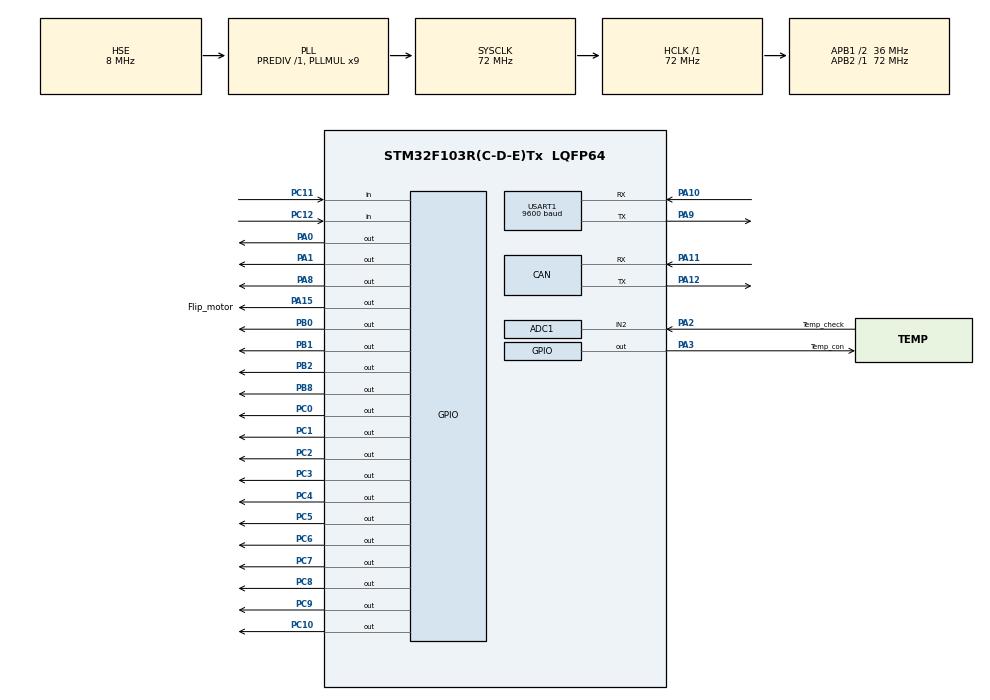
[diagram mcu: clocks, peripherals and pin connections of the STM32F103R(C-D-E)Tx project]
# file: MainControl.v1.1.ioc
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ADC1.Channel-0\#ChannelRegularConversion=ADC_CHANNEL_2
ADC1.ContinuousConvMode=ENABLE
ADC1.DataAlign=ADC_DATAALIGN_RIGHT
ADC1.DiscontinuousConvMode=DISABLE
ADC1.EnableAnalogWatchDog=false
ADC1.EnableRegularConversion=ENABLE
ADC1.ExternalTrigConv=ADC_SOFTWARE_START
ADC1.InjNumberOfConversion=0
ADC1.NbrOfConversion=1
ADC1.NbrOfConversionFlag=1
ADC1.Rank-0\#ChannelRegularConversion=1
ADC1.SamplingTime-0\#ChannelRegularConversion=ADC_SAMPLETIME_55CYCLES_5
ADC1.ScanConvMode=ADC_SCAN_DISABLE
ADC1.master=1
CAN.CalculateTimeBit=1333
CAN.CalculateTimeQuantum=444.44444444444446
Dma.ADC1.0.Direction=DMA_PERIPH_TO_MEMORY
Dma.ADC1.0.Instance=DMA1_Channel1
Dma.ADC1.0.MemDataAlignment=DMA_MDATAALIGN_WORD
Dma.ADC1.0.MemInc=DMA_MINC_ENABLE
Dma.ADC1.0.Mode=DMA_NORMAL
Dma.ADC1.0.PeriphDataAlignment=DMA_PDATAALIGN_WORD
Dma.ADC1.0.PeriphInc=DMA_PINC_DISABLE
Dma.ADC1.0.Priority=DMA_PRIORITY_HIGH
Dma.Request0=ADC1
FREERTOS.Tasks01=defaultTask,0,128,StartDefaultTask,Default,NULL,Dynamic,NULL,NULL;myTask02,-3,128,StartTask02,Default,NULL,Dynamic,NULL,NULL;myTask03,-3,128,StartTask03,Default,NULL,Dynamic,NULL,NULL
Mcu.Family=STM32F1
Mcu.Name=STM32F103R(C-D-E)Tx
Mcu.Package=LQFP64
NVIC.DMA1_Channel1_IRQn=true\:5\:0\:false\:false\:true\:true
NVIC.PriorityGroup=NVIC_PRIORITYGROUP_4
NVIC.TIM4_IRQn=true\:0\:0\:false\:false\:true\:false
NVIC.TimeBase=TIM4_IRQn
NVIC.TimeBaseIP=TIM4
NVIC.USB_LP_CAN1_RX0_IRQn=true\:0\:0\:false\:false\:true\:false
PA0-WKUP.GPIO_Speed=GPIO_SPEED_FREQ_HIGH
PA0-WKUP.Signal=GPIO_Output
PA1.GPIO_Speed=GPIO_SPEED_FREQ_HIGH
PA1.Signal=GPIO_Output
PA10.Mode=Asynchronous
PA10.Signal=USART1_RX
PA11.Mode=Master
PA11.Signal=CAN_RX
PA12.Mode=Master
PA12.Signal=CAN_TX
PA13.Mode=Serial_Wire
PA13.Signal=SYS_JTMS-SWDIO
PA14.Mode=Serial_Wire
PA14.Signal=SYS_JTCK-SWCLK
PA15.GPIO_Label=Flip_motor
PA15.Signal=GPIO_Output
PA2.GPIO_Label=Temp_check
PA2.Signal=ADCx_IN2
PA3.GPIO_Label=Temp_con
PA3.Signal=GPIO_Output
PA8.GPIO_Speed=GPIO_SPEED_FREQ_HIGH
PA8.Signal=GPIO_Output
PA9.Mode=Asynchronous
PA9.Signal=USART1_TX
PB0.GPIO_Speed=GPIO_SPEED_FREQ_HIGH
PB0.Signal=GPIO_Output
PB1.GPIO_Speed=GPIO_SPEED_FREQ_HIGH
PB1.Signal=GPIO_Output
PB2.GPIO_Speed=GPIO_SPEED_FREQ_HIGH
PB2.Signal=GPIO_Output
PB8.GPIO_Speed=GPIO_SPEED_FREQ_HIGH
PB8.Signal=GPIO_Output
PC0.GPIO_Speed=GPIO_SPEED_FREQ_HIGH
PC0.Signal=GPIO_Output
PC1.GPIO_Speed=GPIO_SPEED_FREQ_HIGH
PC1.Signal=GPIO_Output
PC10.GPIO_Speed=GPIO_SPEED_FREQ_HIGH
PC10.Signal=GPIO_Output
PC11.Signal=GPIO_Input
PC12.Signal=GPIO_Input
PC2.GPIO_Speed=GPIO_SPEED_FREQ_HIGH
PC2.Signal=GPIO_Output
PC3.GPIO_Speed=GPIO_SPEED_FREQ_HIGH
PC3.Signal=GPIO_Output
PC4.GPIO_Speed=GPIO_SPEED_FREQ_HIGH
PC4.Signal=GPIO_Output
PC5.GPIO_Speed=GPIO_SPEED_FREQ_HIGH
PC5.Signal=GPIO_Output
PC6.GPIO_Speed=GPIO_SPEED_FREQ_HIGH
PC6.Signal=GPIO_Output
PC7.GPIO_Speed=GPIO_SPEED_FREQ_HIGH
PC7.Signal=GPIO_Output
PC8.GPIO_Speed=GPIO_SPEED_FREQ_HIGH
PC8.Signal=GPIO_Output
PC9.GPIO_Speed=GPIO_SPEED_FREQ_HIGH
PC9.Signal=GPIO_Output
PD0-OSC_IN.Mode=HSE-External-Oscillator
PD0-OSC_IN.Signal=RCC_OSC_IN
PD1-OSC_OUT.Mode=HSE-External-Oscillator
PD1-OSC_OUT.Signal=RCC_OSC_OUT
ProjectManager.HeapSize=0x200
ProjectManager.StackSize=0x400
ProjectManager.TargetToolchain=MDK-ARM V5
RCC.ADCPresc=RCC_ADCPCLK2_DIV6
RCC.AHBFreq_Value=72000000
RCC.APB1CLKDivider=RCC_HCLK_DIV2
RCC.APB1Freq_Value=36000000
RCC.APB1TimFreq_Value=72000000
RCC.APB2Freq_Value=72000000
RCC.APB2TimFreq_Value=72000000
RCC.HCLKFreq_Value=72000000
RCC.PLLMUL=RCC_PLL_MUL9
RCC.PLLSourceVirtual=RCC_PLLSOURCE_HSE
RCC.SYSCLKFreq_VALUE=72000000
RCC.SYSCLKSource=RCC_SYSCLKSOURCE_PLLCLK
RCC.USBFreq_Value=72000000
SH.ADCx_IN2.0=ADC1_IN2,IN2
USART1.BaudRate=9600
USART1.VirtualMode=VM_ASYNC
VP_FREERTOS_VS_ENABLE.Mode=Enabled
VP_SYS_VS_tim4.Mode=TIM4
board=MainControl.v1.1

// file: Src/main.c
/**
  ******************************************************************************
  * File Name          : main.c
  * Description        : Main program body
  ******************************************************************************
  * This notice applies to any and all portions of this file
  * that are not between comment pairs USER CODE BEGIN and
  * USER CODE END. Other portions of this file, whether
  * inserted by the user or by software development tools
  * are owned by their respective copyright owners.
  *
  * Copyright (c) 2017 STMicroelectronics International N.V.
  * All rights reserved.
  *
  * Redistribution and use in source and binary forms, with or without
  * modification, are permitted, provided that the following conditions are met:
  *
  * 1. Redistribution of source code must retain the above copyright notice,
  *    this list of conditions and the following disclaimer.
  * 2. Redistributions in binary form must reproduce the above copyright notice,
  *    this list of conditions and the following disclaimer in the documentation
  *    and/or other materials provided with the distribution.
  * 3. Neither the name of STMicroelectronics nor the names of other
  *    contributors to this software may be used to endorse or promote products
  *    derived from this software without specific written permission.
  * 4. This software, including modifications and/or derivative works of this
  *    software, must execute solely and exclusively on microcontroller or
  *    microprocessor devices manufactured by or for STMicroelectronics.
  * 5. Redistribution and use of this software other than as permitted under
  *    this license is void and will automatically terminate your rights under
  *    this license.
  *
  * THIS SOFTWARE IS PROVIDED BY STMICROELECTRONICS AND CONTRIBUTORS "AS IS"
  * AND ANY EXPRESS, IMPLIED OR STATUTORY WARRANTIES, INCLUDING, BUT NOT
  * LIMITED TO, THE IMPLIED WARRANTIES OF MERCHANTABILITY, FITNESS FOR A
  * PARTICULAR PURPOSE AND NON-INFRINGEMENT OF THIRD PARTY INTELLECTUAL PROPERTY
  * RIGHTS ARE DISCLAIMED TO THE FULLEST EXTENT PERMITTED BY LAW. IN NO EVENT
  * SHALL STMICROELECTRONICS OR CONTRIBUTORS BE LIABLE FOR ANY DIRECT, INDIRECT,
  * INCIDENTAL, SPECIAL, EXEMPLARY, OR CONSEQUENTIAL DAMAGES (INCLUDING, BUT NOT
  * LIMITED TO, PROCUREMENT OF SUBSTITUTE GOODS OR SERVICES; LOSS OF USE, DATA,
  * OR PROFITS; OR BUSINESS INTERRUPTION) HOWEVER CAUSED AND ON ANY THEORY OF
  * LIABILITY, WHETHER IN CONTRACT, STRICT LIABILITY, OR TORT (INCLUDING
  * NEGLIGENCE OR OTHERWISE) ARISING IN ANY WAY OUT OF THE USE OF THIS SOFTWARE,
  * EVEN IF ADVISED OF THE POSSIBILITY OF SUCH DAMAGE.
  *
  ******************************************************************************
  */
#include "main.h"
#include "stm32f1xx_hal.h"
#include "cmsis_os.h"
#include "adc.h"
#include "can.h"
#include "dma.h"
#include "usart.h"
#include "gpio.h"

/* USER CODE BEGIN PV */
/* Private variables ---------------------------------------------------------*/

/* USER CODE END PV */

void SystemClock_Config(void);
void MX_FREERTOS_Init(void);

/* USER CODE BEGIN PFP */
/* Private function prototypes -----------------------------------------------*/

/* USER CODE END PFP */

int main(void)
{

  /* MCU Configuration----------------------------------------------------------*/

  /* Reset of all peripherals, Initializes the Flash interface and the Systick. */
  HAL_Init();

  /* Configure the system clock */
  SystemClock_Config();

  /* Initialize all configured peripherals */
  MX_GPIO_Init();
  MX_DMA_Init();
  MX_CAN_Init();
  MX_USART1_UART_Init();
  MX_ADC1_Init();

  /* Call init function for freertos objects (in freertos.c) */
  MX_FREERTOS_Init();

  /* Start scheduler */
  osKernelStart();

  /* We should never get here as control is now taken by the scheduler */

  /* Infinite loop */
  while (1)
  {

  }

}

/** System Clock Configuration
*/
void SystemClock_Config(void)
{

  RCC_OscInitTypeDef RCC_OscInitStruct;
  RCC_ClkInitTypeDef RCC_ClkInitStruct;
  RCC_PeriphCLKInitTypeDef PeriphClkInit;

    /**Initializes the CPU, AHB and APB busses clocks
    */
  RCC_OscInitStruct.OscillatorType = RCC_OSCILLATORTYPE_HSE;
  RCC_OscInitStruct.HSEState = RCC_HSE_ON;
  RCC_OscInitStruct.HSEPredivValue = RCC_HSE_PREDIV_DIV1;
  RCC_OscInitStruct.HSIState = RCC_HSI_ON;
  RCC_OscInitStruct.PLL.PLLState = RCC_PLL_ON;
  RCC_OscInitStruct.PLL.PLLSource = RCC_PLLSOURCE_HSE;
  RCC_OscInitStruct.PLL.PLLMUL = RCC_PLL_MUL9;
  if (HAL_RCC_OscConfig(&RCC_OscInitStruct) != HAL_OK)
  {
    _Error_Handler(__FILE__, __LINE__);
  }

    /**Initializes the CPU, AHB and APB busses clocks
    */
  RCC_ClkInitStruct.ClockType = RCC_CLOCKTYPE_HCLK|RCC_CLOCKTYPE_SYSCLK
                              |RCC_CLOCKTYPE_PCLK1|RCC_CLOCKTYPE_PCLK2;
  RCC_ClkInitStruct.SYSCLKSource = RCC_SYSCLKSOURCE_PLLCLK;
  RCC_ClkInitStruct.AHBCLKDivider = RCC_SYSCLK_DIV1;
  RCC_ClkInitStruct.APB1CLKDivider = RCC_HCLK_DIV2;
  RCC_ClkInitStruct.APB2CLKDivider = RCC_HCLK_DIV1;

  if (HAL_RCC_ClockConfig(&RCC_ClkInitStruct, FLASH_LATENCY_2) != HAL_OK)
  {
    _Error_Handler(__FILE__, __LINE__);
  }

  PeriphClkInit.PeriphClockSelection = RCC_PERIPHCLK_ADC;
  PeriphClkInit.AdcClockSelection = RCC_ADCPCLK2_DIV6;
  if (HAL_RCCEx_PeriphCLKConfig(&PeriphClkInit) != HAL_OK)
  {
    _Error_Handler(__FILE__, __LINE__);
  }

    /**Configure the Systick interrupt time
    */
  HAL_SYSTICK_Config(HAL_RCC_GetHCLKFreq()/1000);

    /**Configure the Systick
    */
  HAL_SYSTICK_CLKSourceConfig(SYSTICK_CLKSOURCE_HCLK);

  /* SysTick_IRQn interrupt configuration */
  HAL_NVIC_SetPriority(SysTick_IRQn, 15, 0);
}

void HAL_TIM_PeriodElapsedCallback(TIM_HandleTypeDef *htim)
{
  if (htim->Instance == TIM4) {
    HAL_IncTick();
  }
}

void _Error_Handler(char * file, int line)
{
  while(1)
  {
  }
}

/************************ (C) COPYRIGHT STMicroelectronics *****END OF FILE****/

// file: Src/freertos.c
/**
  ******************************************************************************
  * File Name          : freertos.c
  * Description        : Code for freertos applications
  ******************************************************************************
  * This notice applies to any and all portions of this file
  * that are not between comment pairs USER CODE BEGIN and
  * USER CODE END. Other portions of this file, whether
  * inserted by the user or by software development tools
  * are owned by their respective copyright owners.
  *
  * Copyright (c) 2017 STMicroelectronics International N.V.
  * All rights reserved.
  *
  * Redistribution and use in source and binary forms, with or without
  * modification, are permitted, provided that the following conditions are met:
  *
  * 1. Redistribution of source code must retain the above copyright notice,
  *    this list of conditions and the following disclaimer.
  * 2. Redistributions in binary form must reproduce the above copyright notice,
  *    this list of conditions and the following disclaimer in the documentation
  *    and/or other materials provided with the distribution.
  * 3. Neither the name of STMicroelectronics nor the names of other
  *    contributors to this software may be used to endorse or promote products
  *    derived from this software without specific written permission.
  * 4. This software, including modifications and/or derivative works of this
  *    software, must execute solely and exclusively on microcontroller or
  *    microprocessor devices manufactured by or for STMicroelectronics.
  * 5. Redistribution and use of this software other than as permitted under
  *    this license is void and will automatically terminate your rights under
  *    this license.
  *
  * THIS SOFTWARE IS PROVIDED BY STMICROELECTRONICS AND CONTRIBUTORS "AS IS"
  * AND ANY EXPRESS, IMPLIED OR STATUTORY WARRANTIES, INCLUDING, BUT NOT
  * LIMITED TO, THE IMPLIED WARRANTIES OF MERCHANTABILITY, FITNESS FOR A
  * PARTICULAR PURPOSE AND NON-INFRINGEMENT OF THIRD PARTY INTELLECTUAL PROPERTY
  * RIGHTS ARE DISCLAIMED TO THE FULLEST EXTENT PERMITTED BY LAW. IN NO EVENT
  * SHALL STMICROELECTRONICS OR CONTRIBUTORS BE LIABLE FOR ANY DIRECT, INDIRECT,
  * INCIDENTAL, SPECIAL, EXEMPLARY, OR CONSEQUENTIAL DAMAGES (INCLUDING, BUT NOT
  * LIMITED TO, PROCUREMENT OF SUBSTITUTE GOODS OR SERVICES; LOSS OF USE, DATA,
  * OR PROFITS; OR BUSINESS INTERRUPTION) HOWEVER CAUSED AND ON ANY THEORY OF
  * LIABILITY, WHETHER IN CONTRACT, STRICT LIABILITY, OR TORT (INCLUDING
  * NEGLIGENCE OR OTHERWISE) ARISING IN ANY WAY OUT OF THE USE OF THIS SOFTWARE,
  * EVEN IF ADVISED OF THE POSSIBILITY OF SUCH DAMAGE.
  *
  ******************************************************************************
  */

#include "FreeRTOS.h"
#include "task.h"
#include "cmsis_os.h"

/* USER CODE BEGIN Includes */
#include "alltasks.h"
#include "can.h"

uint8_t redataMOTOR[8],redataCOLOR[8],MYID;
uint8_t start = 0,ph_ok = 0,flip_ok = 0,EN_PUT = 0;
/* USER CODE END Includes */

osThreadId defaultTaskHandle;
osThreadId myTask02Handle;
osThreadId myTask03Handle;

void StartDefaultTask(void const * argument);
void StartTask02(void const * argument);
void StartTask03(void const * argument);

void MX_FREERTOS_Init(void); /* (MISRA C 2004 rule 8.1) */

/* USER CODE BEGIN FunctionPrototypes */
extern uint8_t flag_flip;
/* USER CODE END FunctionPrototypes */

/* Hook prototypes */

/* Init FreeRTOS */

void MX_FREERTOS_Init(void) {

  /* Create the thread(s) */
  /* definition and creation of defaultTask */
  osThreadDef(defaultTask, StartDefaultTask, osPriorityNormal, 0, 128);
  defaultTaskHandle = osThreadCreate(osThread(defaultTask), NULL);

  /* definition and creation of myTask02 */
  osThreadDef(myTask02, StartTask02, osPriorityIdle, 0, 128);
  myTask02Handle = osThreadCreate(osThread(myTask02), NULL);

  /* definition and creation of myTask03 */
  osThreadDef(myTask03, StartTask03, osPriorityNormal, 0, 128);
  myTask03Handle = osThreadCreate(osThread(myTask03), NULL);

////extern void CAN_SEND_MESSAGE(CAN_HandleTypeDef* _hcan,uint8_t id,uint8_t symbol,uint8_t _RPX,uint8_t _RPY,uint8_t _RPTHETA);
}

/* StartDefaultTask function */
void StartDefaultTask(void const * argument)
{

  /* USER CODE BEGIN StartDefaultTask */
	Print_result();
	display_init();
  /* Infinite loop */
  for(;;)
  {
		my_gui();
    osDelay(200);
  }
  /* USER CODE END StartDefaultTask */
}

/* StartTask02 function */
void StartTask02(void const * argument)
{
  /* USER CODE BEGIN StartTask02 */
	temp_init();
  /* Infinite loop */
  for(;;)
  {
		temp_control();
    osDelay(3000);
  }
  /* USER CODE END StartTask02 */
}

/* StartTask03 function */
extern uint8_t flag_print;
void StartTask03(void const * argument)
{
  /* USER CODE BEGIN StartTask03 */
  CAN_SEND_MESSAGE(&hcan,0x22,0,0,0,0);
  HAL_CAN_Receive_IT(&hcan,CAN_FIFO0);
  /* Infinite loop */
  for(;;)
  {
//		if(flag_print){
//			 Print_result();
//		   HAL_Delay(500);
//			 flag_print = 0;
//		}
		if(hcan.pRxMsg->Data[0] - ph_ok) {
  	  HAL_Delay(500);                                       // pH
			ph_ok++;

		}
		if(hcan.pRxMsg->Data[1] == (flip_ok+1)) {
	    start_flip();                                          //滴一滴
			HAL_Delay(500);
			flip_ok++;

		}
		if(hcan.pRxMsg->Data[2]) {                                //检测pH
    EN_PUT = 1;
		}
    else	if(hcan.pRxMsg->Data[2] == 0) {
    EN_PUT = 0;
		}
    osDelay(50);
  }
  /* USER CODE END StartTask03 */
}

/************************ (C) COPYRIGHT STMicroelectronics *****END OF FILE****/
